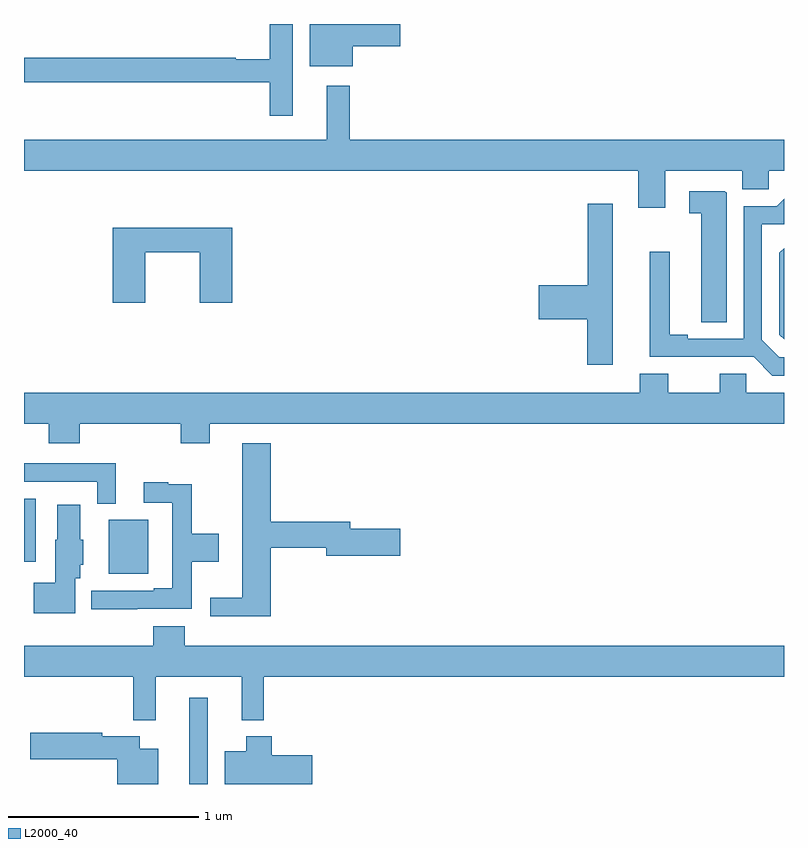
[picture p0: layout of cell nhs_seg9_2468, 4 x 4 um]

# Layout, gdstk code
import gdstk
lib = gdstk.Library(unit=1e-6, precision=1e-09)
def R(c, l, rs):  # rectangles x0, y0, x1, y1
    for r in rs: c.add(gdstk.rectangle(r[:2], r[2:], *l))
def P(c, l, *ps):  # polygons
    for p in ps: c.add(gdstk.Polygon(p, *l))
L2000_40 = (2000, 40)

nhs_seg9_2468 = lib.new_cell('nhs_seg9_2468')
R(nhs_seg9_2468, L2000_40, [(251.87,1218.5,251.967,1218.955), (251.447,1219.607,251.653,1219.891), (251,1219.67,251.062,1220.002)])
P(nhs_seg9_2468, L2000_40, [(252.73,1222.384),(252.979,1222.384),(252.979,1222.5),(252.503,1222.5),(252.503,1222.277),(252.73,1222.277)],
  [(252.415,1222.5),(252.294,1222.5),(252.294,1222.315),(252.115,1222.315),(252.115,1222.322),(251,1222.322),(251,1222.194),(252.294,1222.194),(252.294,1222.017),(252.415,1222.017)],
  [(254.374,1221.728),(254.78,1221.728),(254.78,1221.63),(254.919,1221.63),(254.919,1221.728),(255,1221.728),(255,1221.892),(252.715,1221.892),(252.715,1222.174),(252.593,1222.174),(252.593,1221.892),(251,1221.892),(251,1221.728),(254.234,1221.728),(254.234,1221.534),(254.374,1221.534)],
  [(254.698,1221.611),(254.688,1221.621),(254.502,1221.621),(254.502,1221.505),(254.564,1221.505),(254.564,1220.929),(254.698,1220.929)],
  [(255,1220.745),(254.976,1220.745),(254.883,1220.838),(254.883,1221.445),(255,1221.445),(255,1221.579),(254.961,1221.54),(254.787,1221.54),(254.787,1220.844),(254.494,1220.844),(254.494,1220.864),(254.398,1220.864),(254.398,1221.301),(254.294,1221.301),(254.294,1220.748),(254.84,1220.748),(254.939,1220.649),(255,1220.649)],
  [(254.098,1221.553),(253.967,1221.553),(253.967,1221.125),(253.71,1221.125),(253.71,1220.947),(253.964,1220.947),(253.964,1220.706),(254.098,1220.706)],
  [(251.638,1221.298),(251.924,1221.298),(251.924,1221.033),(252.095,1221.033),(252.095,1221.427),(251.468,1221.427),(251.468,1221.033),(251.638,1221.033)],
  [(255,1221.321),(254.976,1221.297),(254.976,1220.865),(255,1220.841)],
  [(251.294,1220.396),(251.825,1220.396),(251.825,1220.294),(251.977,1220.294),(251.977,1220.396),(255,1220.396),(255,1220.56),(254.802,1220.56),(254.802,1220.658),(254.663,1220.658),(254.663,1220.56),(254.392,1220.56),(254.392,1220.659),(254.24,1220.659),(254.24,1220.56),(251,1220.56),(251,1220.396),(251.129,1220.396),(251.129,1220.294),(251.294,1220.294)],
  [(252.299,1219.744),(252.59,1219.744),(252.59,1219.702),(252.979,1219.702),(252.979,1219.844),(252.718,1219.844),(252.718,1219.88),(252.299,1219.88),(252.299,1220.293),(252.149,1220.293),(252.149,1219.481),(251.979,1219.481),(251.979,1219.382),(252.299,1219.382)],
  [(251.482,1220.187),(251,1220.187),(251,1220.091),(251.385,1220.091),(251.385,1219.976),(251.482,1219.976)],
  [(251.597,1219.422),(251.882,1219.422),(251.882,1219.67),(252.025,1219.67),(252.025,1219.818),(251.882,1219.818),(251.882,1220.078),(251.759,1220.078),(251.759,1220.089),(251.631,1220.089),(251.631,1219.98),(251.781,1219.98),(251.781,1219.531),(251.684,1219.531),(251.684,1219.518),(251.355,1219.518),(251.355,1219.421),(251.597,1219.421)],
  [(251.269,1219.584),(251.296,1219.584),(251.296,1219.653),(251.311,1219.653),(251.311,1219.785),(251.296,1219.785),(251.296,1219.969),(251.174,1219.969),(251.174,1219.785),(251.165,1219.785),(251.165,1219.558),(251.05,1219.558),(251.05,1219.4),(251.269,1219.4)],
  [(251.693,1219.064),(252.146,1219.064),(252.146,1218.836),(252.263,1218.836),(252.263,1219.064),(255,1219.064),(255,1219.228),(251.846,1219.228),(251.846,1219.33),(251.681,1219.33),(251.681,1219.228),(251,1219.228),(251,1219.064),(251.575,1219.064),(251.575,1218.836),(251.693,1218.836)],
  [(251.707,1218.685),(251.608,1218.685),(251.608,1218.751),(251.412,1218.751),(251.412,1218.771),(251.033,1218.771),(251.033,1218.629),(251.492,1218.629),(251.492,1218.5),(251.707,1218.5)],
  [(252.517,1218.651),(252.305,1218.651),(252.305,1218.751),(252.17,1218.751),(252.17,1218.673),(252.056,1218.673),(252.056,1218.5),(252.517,1218.5)])

lib.write_gds('nhs_seg9_2468.gds')
